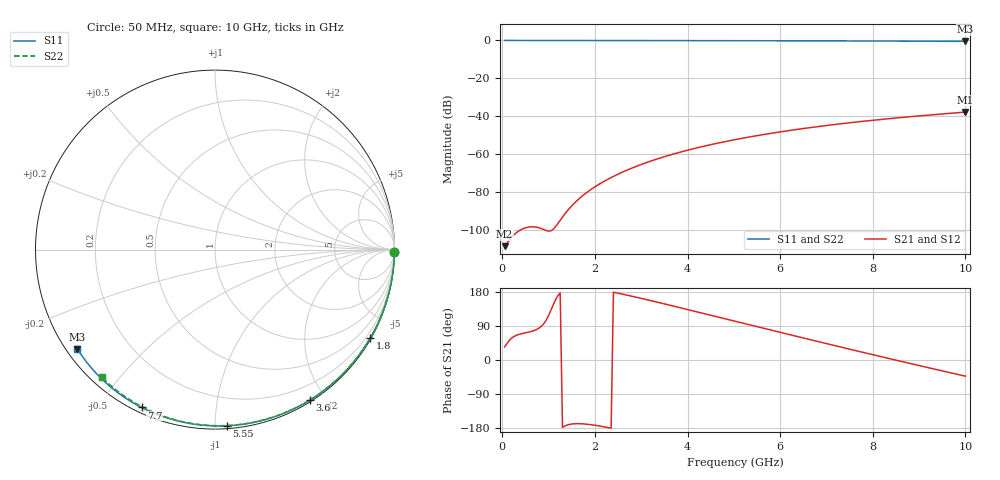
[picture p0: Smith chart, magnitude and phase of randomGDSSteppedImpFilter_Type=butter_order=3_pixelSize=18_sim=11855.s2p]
! freq	dB(S11)	phase(S11)	dB(S12)	phase(S12)
!  dB(S21)	phase(S21)	dB(S22)	phase(S22)
!S-par simulation data
#  GHz  S  DB  R 50
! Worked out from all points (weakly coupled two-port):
!   200 points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, 50 MHz to 10 GHz, reference 50 ohm
!   highest |S21| = -37.88 dB at 10 GHz (marker M1); lowest = -108.8 dB at 50 MHz (marker M2)
!   lowest |S11| = -0.5 dB at 10 GHz (marker M3), VSWR 35.81, Z = 1.54 - j16.1 ohm
!   |S11| at or under -10 dB: nowhere
!   |S22| runs from -0.4 to 0.0 dB; largest |S21 - S12| = 0
!   S11 on the Smith chart (normalised r, x): 50 MHz: open; 1.8 GHz: 0.03, -3.77; 3.6 GHz: 0.02, -1.81; 5.55 GHz: 0.02, -1.07; 7.7 GHz: 0.02, -0.64; 10 GHz: 0.03, -0.32
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0.05  -0.00 -0.8  -108.76 34.5  -108.76 34.5  -0.00 -0.8
0.45  -0.01 -7.5  -99.51 70.4  -99.51 70.4  -0.01 -6.8
0.9  -0.02 -15.0  -100.03 96.5  -100.03 96.5  -0.02 -13.6
1.75  -0.04 -28.9  -81.79 -168.6  -81.79 -168.6  -0.03 -26.2
1.8  -0.04 -29.7  -80.82 -169.1  -80.82 -169.1  -0.03 -27.0
1.85  -0.04 -30.5  -79.91 -169.7  -79.91 -169.7  -0.04 -27.7
2  -0.04 -32.9  -77.39 -172.2  -77.39 -172.2  -0.04 -29.9
2.15  -0.05 -35.3  -75.15 -175.3  -75.15 -175.3  -0.04 -32.1
2.35  -0.05 -38.5  -72.48 -179.9  -72.48 -179.9  -0.04 -35.0
2.55  -0.05 -41.6  -70.11 175.0  -70.11 175.0  -0.05 -37.9
2.95  -0.06 -47.9  -66.03 164.1  -66.03 164.1  -0.06 -43.6
3.4  -0.07 -54.8  -62.21 151.1  -62.21 151.1  -0.07 -49.9
3.6  -0.08 -57.9  -60.71 145.1  -60.71 145.1  -0.07 -52.7
4.3  -0.10 -68.3  -56.21 124.2  -56.21 124.2  -0.09 -62.3
5.05  -0.12 -79.2  -52.32 101.5  -52.32 101.5  -0.11 -72.2
5.55  -0.14 -86.2  -50.12 86.5  -50.12 86.5  -0.13 -78.7
6.1  -0.17 -93.8  -47.97 70.0  -47.97 70.0  -0.15 -85.7
6.7  -0.20 -101.8  -45.90 52.1  -45.90 52.1  -0.18 -93.1
7.7  -0.26 -114.9  -42.98 22.7  -42.98 22.7  -0.24 -105.1
8.35  -0.32 -123.3  -41.35 3.9  -41.35 3.9  -0.29 -112.7
9.2  -0.40 -134.1  -39.47 -20.3  -39.47 -20.3  -0.36 -122.5
10  -0.49 -144.2  -37.88 -42.6  -37.88 -42.6  -0.44 -131.5
